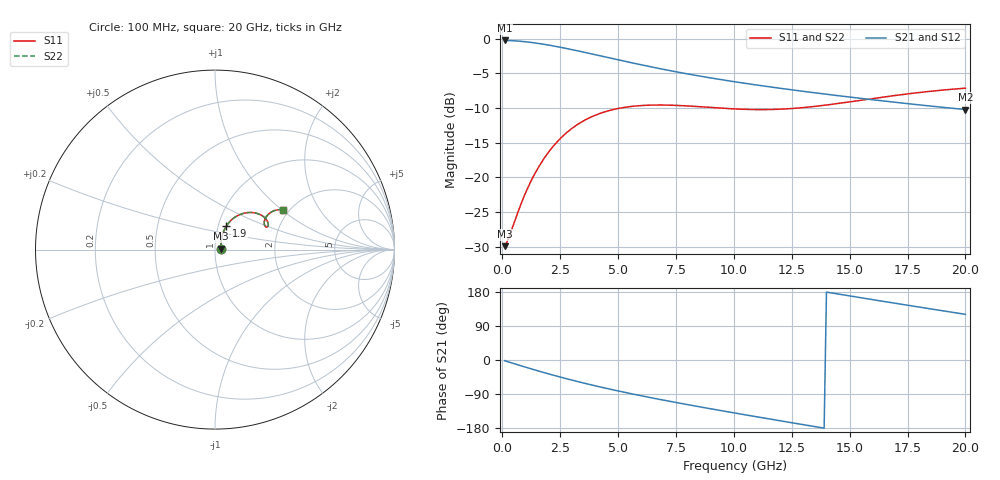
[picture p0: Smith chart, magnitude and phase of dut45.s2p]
! Created with skrf 1.9.0 (http://scikit-rf.org).
# GHz S RI R 50.0
!freq ReS11 ImS11 ReS21 ImS21 ReS12 ImS12 ReS22 ImS22
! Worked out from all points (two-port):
!   200 points, 100 MHz to 20 GHz, reference 50 ohm
!   highest |S21| = -0.28 dB at 100 MHz (marker M1); lowest = -10.2 dB at 20 GHz (marker M2)
!   |S21| within 3 dB of the highest: start of sweep to 5.292 GHz
!   lowest |S11| = -29.9 dB at 100 MHz (marker M3), VSWR 1.07, Z = 53.2 + j0.615 ohm
!   |S11| at or under -10 dB: start of sweep to 5.132 GHz; 9.312 GHz to 12.82 GHz (3.51 GHz wide, 31.7 % of centre)
!   |S22| runs from -29.9 to -7.2 dB; largest |S21 - S12| = 1.8e-15
!   S11 on the Smith chart (normalised r, x): 100 MHz: 1.06, +0.01; 1.9 GHz: 1.09, +0.29; 20 GHz: 1.86, +1.02
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0.1  0.0314 0.00577  0.9679 -0.0315  0.9679 -0.0315  0.0314 0.00577
0.3  0.0322 0.0193  0.9615 -0.0961  0.9615 -0.0961  0.0322 0.0193
0.6  0.0336 0.0394  0.9416 -0.1899  0.9416 -0.1899  0.0336 0.0394
1.1  0.0394 0.0741  0.8827 -0.3337  0.8827 -0.3337  0.0394 0.0741
1.5  0.0484 0.1026  0.8172 -0.4333  0.8172 -0.4333  0.0484 0.1026
1.9  0.0625 0.1302  0.7402 -0.517  0.7402 -0.517  0.0625 0.1302
2.3  0.0815 0.1551  0.6558 -0.5843  0.6558 -0.5843  0.0815 0.1551
2.7  0.1044 0.1757  0.5677 -0.6358  0.5677 -0.6358  0.1044 0.1757
3.5  0.1562 0.2013  0.3918 -0.696  0.3918 -0.696  0.1562 0.2013
4.2  0.2003 0.2069  0.2479 -0.7105  0.2479 -0.7105  0.2003 0.2069
4.9  0.2374 0.2005  0.119 -0.6986  0.119 -0.6986  0.2374 0.2005
5.8  0.2714 0.1825  -0.0219 -0.6568  -0.0219 -0.6568  0.2714 0.1825
6.8  0.2914 0.1592  -0.147 -0.589  -0.147 -0.589  0.2914 0.1592
7.6  0.2967 0.1432  -0.2259 -0.5255  -0.2259 -0.5255  0.2967 0.1432
8.4  0.2957 0.1319  -0.2884 -0.4578  -0.2884 -0.4578  0.2957 0.1319
10.1  0.2841 0.126  -0.3756 -0.309  -0.3756 -0.309  0.2841 0.126
11.7  0.275 0.1399  -0.4105 -0.1717  -0.4105 -0.1717  0.275 0.1399
13.4  0.2772 0.166  -0.4067 -0.0374  -0.4067 -0.0374  0.2772 0.166
14.9  0.2912 0.1903  -0.3749 0.0652  -0.3749 0.0652  0.2912 0.1903
16.7  0.3195 0.2123  -0.3111 0.1633  -0.3111 0.1633  0.3195 0.2123
18.3  0.3492 0.2216  -0.2395 0.2252  -0.2395 0.2252  0.3492 0.2216
20  0.3791 0.2212  -0.1565 0.2652  -0.1565 0.2652  0.3791 0.2212
